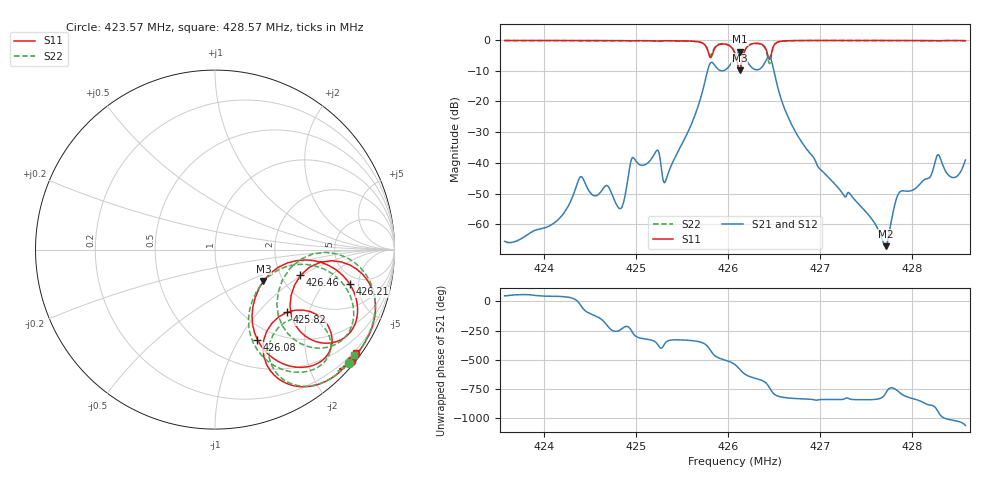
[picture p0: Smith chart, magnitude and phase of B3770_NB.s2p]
! Matrix data file written by TouchstoneData, EPCOS AG
! FILENAME: "B3770_SB.s2p"
! COMMENT: "AUF PLATINE QCC8C 2/5 12 Nov 2004 S11-KEIN K"
! INFO: nport=2, nfreq=801
! DATE: "Thu Sep 20 11:26:52 2012"
! USER: "Wilfried Schott"
! port | pin | signal
!  1  |  2  |  IN
!  2  |  5  |  OUT
# MHZ S MA R 50
! freq  magS11 angS11  magS21 angS21  magS12 angS12  magS22 angS22
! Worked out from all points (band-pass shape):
!   801 points, 423.57 MHz to 428.57 MHz, reference 50 ohm
!   highest |S21| = -3.83 dB at 426.13 MHz (marker M1); lowest = -67.1 dB at 427.71 MHz (marker M2)
!   |S21| within 3 dB of the highest: 426.049 MHz to 426.2032 MHz (154.1 kHz wide, 0.0362 % of centre); 426.4086 MHz to 426.4717 MHz (63.03 kHz wide, 0.0148 % of centre)
!   lowest |S11| = -9.9 dB at 426.12 MHz (marker M3), VSWR 1.95, Z = 79.4 - j31.1 ohm
!   |S11| at or under -10 dB: nowhere
!   |S22| runs from -9.8 to -0.2 dB; largest |S21 - S12| = 0.0014
!   S11 on the Smith chart (normalised r, x): 423.57 MHz: 0.08, -2.79; 425.82 MHz: 1.49, -1.45; 426.08 MHz: 0.83, -1.20; 426.21 MHz: 4.01, -3.90; 426.46 MHz: 2.55, -0.97; 428.57 MHz: 0.14, -3.05
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423.575  0.9814 -39.4  0.0005293 47.9  0.0005264 47.9  0.9799 -40.3
424.1312  0.9805 -40.2  0.0011 43.2  0.001111 43.5  0.9791 -41.1
424.4125  0.9738 -40.6  0.005919 -47.3  0.005911 -47.2  0.973 -41.5
424.8313  0.9764 -41.8  0.001805 116.3  0.001802 116.2  0.9749 -42.6
424.9625  0.9681 -42.0  0.01219 93.5  0.01216 93.6  0.9672 -42.7
425.2437  0.9609 -43.6  0.01556 -17.9  0.01554 -17.8  0.9633 -44.6
425.325  0.9731 -44.2  0.005244 10.0  0.005235 10.1  0.9712 -45.1
425.725  0.8868 -59.2  0.1511 4.3  0.1509 4.5  0.8854 -58.8
425.8187  0.5316 -41.1  0.4339 -71.8  0.4331 -71.7  0.5786 -41.9
426.075  0.5943 -64.4  0.5341 177.7  0.5336 177.8  0.6068 -67.1
426.0813  0.5546 -64.8  0.5542 173.7  0.5537 173.8  0.5665 -67.6
426.125  0.3216 -33.1  0.6418 139.8  0.6412 139.9  0.3222 -37.0
426.1312  0.3347 -23.3  0.6433 134.3  0.6426 134.4  0.3329 -27.2
426.2063  0.776 -14.4  0.4474 85.3  0.4464 85.4  0.7664 -16.7
426.3812  0.8212 -39.4  0.386 37.3  0.3853 37.5  0.8041 -43.0
426.4563  0.4975 -16.8  0.5191 -28.5  0.5182 -28.4  0.4292 -14.4
426.5375  0.9246 -16.3  0.1723 -91.3  0.1719 -91.2  0.9189 -15.4
426.9125  0.9816 -30.7  0.01312 -120.9  0.01308 -120.7  0.9803 -31.3
427.7125  0.9827 -34.8  0.0004417 -63.9  0.0004401 -63.9  0.9815 -35.6
427.7437  0.9824 -34.9  0.0006666 -29.4  0.0006606 -29.2  0.9812 -35.7
427.8687  0.9799 -35.1  0.003417 -66.4  0.003417 -66.2  0.9789 -35.9
428.575  0.9738 -36.2  0.01113 16.5  0.01111 16.6  0.9729 -37.1
